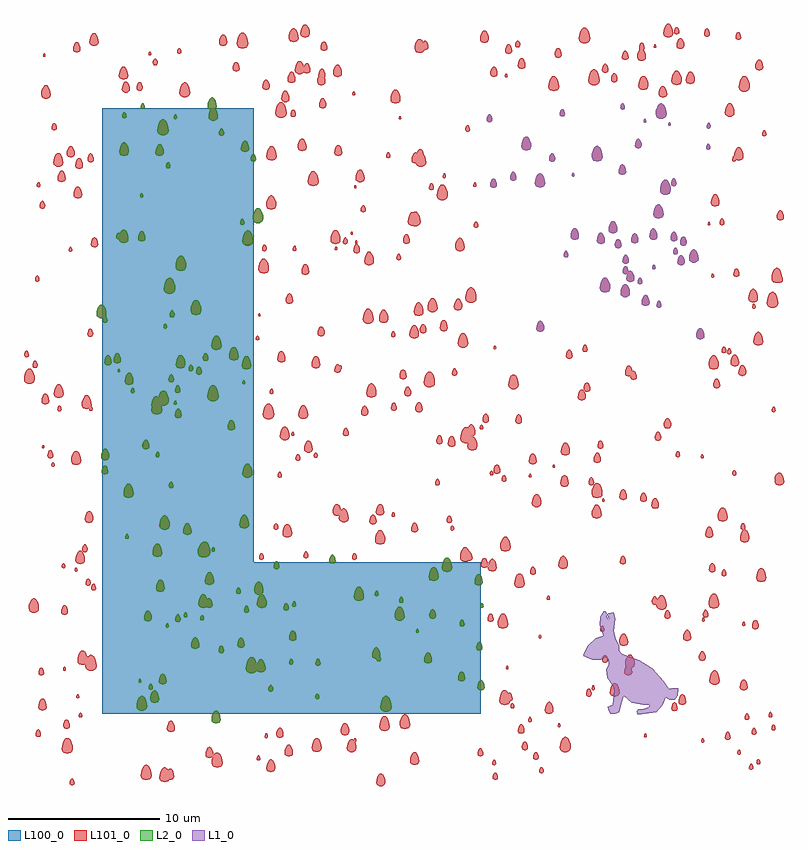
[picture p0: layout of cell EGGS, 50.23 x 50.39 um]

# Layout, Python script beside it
import klayout.db as db
import math

ly = db.Layout()
ly.read("input.gds")

top_cell = ly.top_cell()

# input
l101 = ly.layer(101, 0)  # shapes
l100 = ly.layer(100, 0)  # "L" region

# output
l1 = ly.layer(1, 0)
l2 = ly.layer(2, 0)

# rectangular box region query -> goes to 1/0

box_region = db.DBox(30.0, 30.0, 45.0, 45.0)

box_iter = ly.top_cell().begin_shapes_rec_overlapping(l101, box_region)
while not box_iter.at_end():
  top_cell.shapes(l1).insert(box_iter.shape(), box_iter.trans())
  box_iter.next()

# irregular region query -> goes to 2/0

region = db.Region(top_cell.begin_shapes_rec(l100))

region_iter = db.RecursiveShapeIterator(ly, top_cell, l101, region)
while not region_iter.at_end():
  top_cell.shapes(l2).insert(region_iter.shape(), region_iter.trans())
  region_iter.next()

ly.write("eggs.gds")
